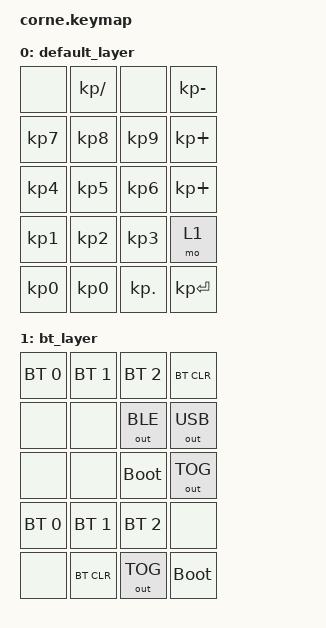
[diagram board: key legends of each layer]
#include <behaviors.dtsi>
#include <dt-bindings/zmk/keys.h>
#include <dt-bindings/zmk/bt.h>

/ {
    keymap {
        compatible = "zmk,keymap";

        /* 5 rows × 4 columns — classic numpad layout */
        default_layer {
            bindings = <
                &none  &kp KP_SLASH    &none   &kp KP_MINUS
                &kp KP_N7        &kp KP_N8       &kp KP_N9        &kp KP_PLUS
                &kp KP_N4        &kp KP_N5       &kp KP_N6        &kp KP_PLUS
                &kp KP_N1        &kp KP_N2       &kp KP_N3        &mo 1
                &kp KP_N0        &kp KP_N0       &kp KP_DOT       &kp KP_ENTER
            >;
        };

        /* Full 5×4 BT/utilities layer */
        bt_layer {
            bindings = <
                &bt BT_SEL 0     &bt BT_SEL 1    &bt BT_SEL 2     &bt BT_CLR
                &none     &none    &out OUT_BLE     &out OUT_USB
                &none      &none      &bootloader      &out OUT_TOG
                &bt BT_SEL 0     &bt BT_SEL 1    &bt BT_SEL 2     &none
                &none     &bt BT_CLR      &out OUT_TOG     &bootloader
            >;
        };
    };
};
